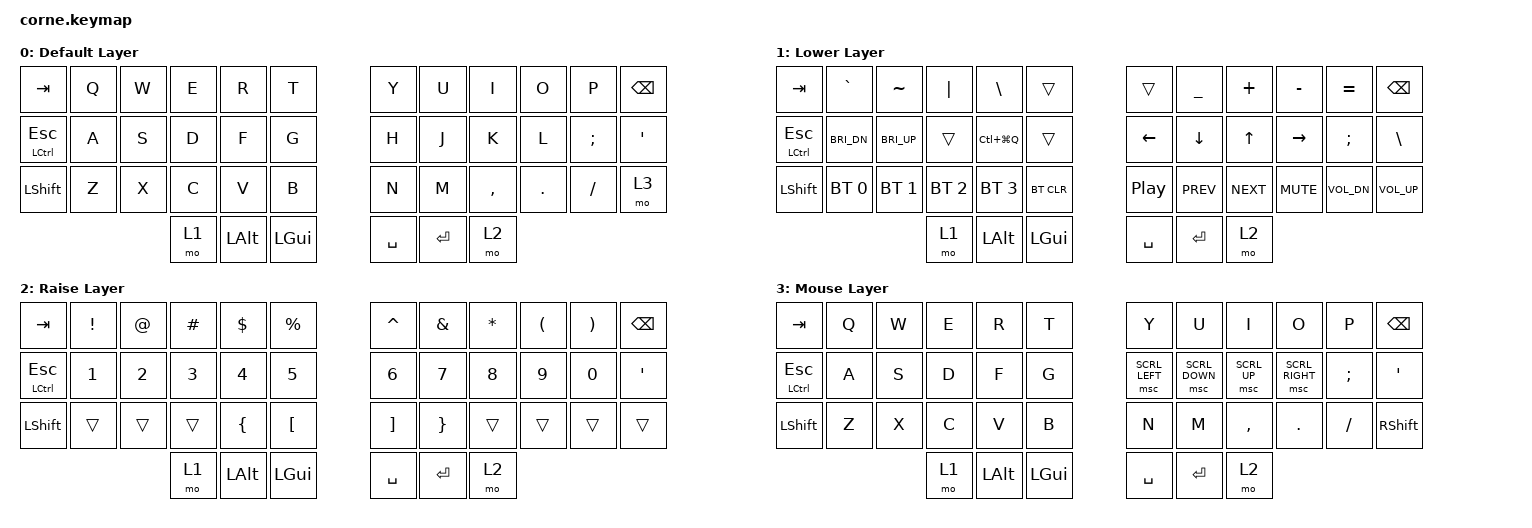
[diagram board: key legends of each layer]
/*
 * Copyright (c) 2020 The ZMK Contributors
 *
 * SPDX-License-Identifier: MIT
 */
#include <behaviors.dtsi>
#include <dt-bindings/zmk/keys.h>
#include <dt-bindings/zmk/bt.h>
#include <dt-bindings/zmk/pointing.h>
/ {
        keymap {
                compatible = "zmk,keymap";

                default_layer {
                        display-name = "Default Layer";
// -----------------------------------------------------------------------------------------
// |  TAB |  Q  |  W  |  E  |  R  |  T  |   |  Y  |  U   |  I  |  O  |  P  | BSPC |
// | CTRL |  A  |  S  |  D  |  F  |  G  |   |  H  |  J   |  K  |  L  |  ;  |  '   |
// | SHFT |  Z  |  X  |  C  |  V  |  B  |   |  N  |  M   |  ,  |  .  |  /  | SHFT  |
//                    | LOW | LOPT | CMD |   | SPACE | ENT  | RSE |
                        bindings = <
   &kp TAB       &kp Q &kp W &kp E &kp R &kp T       &kp Y &kp U  &kp I     &kp O   &kp P    &kp BACKSPACE
   &mt LCTRL ESC &kp A &kp S &kp D &kp F &kp G       &kp H &kp J  &kp K     &kp L   &kp SEMI &kp SQT
   &kp LSHFT     &kp Z &kp X &kp C &kp V &kp B       &kp N &kp M  &kp COMMA &kp DOT &kp FSLH &mo 3
                 &mo 1  &kp LALT &kp LGUI            &kp SPACE &kp RETURN &mo 2
                        >;
                };
                lower_layer {
                        display-name = "Lower Layer";
// -----------------------------------------------------------------------------------------
// |  TAB  |  `  |  ~  |    '|'    |    \    |     |      |     |  _  |  +  |  -  |  =  | BSPC |
// | LCTRL |     |     | SCRL UP | SCRL DN |     |      | LFT | DWN |  UP | RGT |  ;  |  '   |
// | SHFT  | BT0 | BT1 | BT2 | BT3 |BT CLR |    | PLAY | PREV | NEXT | DWN | UP | MUTE |
//                    | LOW | LOPT | CMD |      | SPACE | ENT  | RSE |
                        bindings = <
   &kp TAB       &kp GRAVE     &kp TILDE    &kp PIPE               &kp BACKSLASH        &trans            &trans                  &kp UNDERSCORE &kp PLUS       &kp MINUS    &kp EQUAL    &kp BACKSPACE
   &mt LCTRL ESC &kp C_BRI_DN        &kp C_BRI_UP       &trans     &kp LC(LG(Q))       &trans            &kp LEFT                &kp DOWN       &kp UP         &kp RIGHT    &kp SEMI     &kp BACKSLASH
   &kp LSHFT     &bt BT_SEL 0  &bt BT_SEL 1 &bt BT_SEL 2           &bt BT_SEL 3         &bt BT_CLR        &kp C_PLAY_PAUSE        &kp C_PREV     &kp C_NEXT    &kp C_MUTE &kp C_VOL_DN &kp C_VOL_UP 
                    &mo 1  &kp LALT &kp LGUI     &kp SPACE  &kp RETURN   &mo 2
                        >;
                };
                raise_layer {
                        display-name = "Raise Layer";
// -----------------------------------------------------------------------------------------
// |  TAB |  !  |  @  |  #  |  $  |  %  |   |  ^  |  &  |  *  |  (  |  )  | BSPC |
// | CTRL |  1  |  2  |  3  |  4  |  5  |   |  6  |  7  |  8  |  9  |  0  |  '   |
// | SHFT |     |     |     |  {  |  [  |   |  ]  |  }  |    |    | "|" |  ~   |
//                    | LOW | LOPT | CMD |   | SPACE | ENT  | RSE |
                        bindings = <
   &kp  TAB      &kp EXCL &kp AT &kp HASH &kp DLLR &kp PRCNT        &kp CARET &kp AMPS  &kp ASTRK &kp LPAR &kp RPAR  &kp BACKSPACE
   &mt LCTRL ESC &kp N1   &kp N2 &kp N3   &kp N4   &kp N5           &kp N6    &kp N7    &kp N8    &kp N9   &kp N0    &kp SINGLE_QUOTE
   &kp LSHFT     &trans   &trans &trans   &kp LBRC &kp LBKT         &kp RBKT  &kp RBRC  &trans    &trans   &trans    &trans
                           &mo 1  &kp LALT &kp LGUI                 &kp SPACE &kp RETURN &mo 2
                        >;
                };
                mouse_layer {
                        display-name = "Mouse Layer";
// -----------------------------------------------------------------------------------------
// |  TAB |  Q  |  W  |  E  |  R  |  T  |   |  Y  |  U   |  I  |  O  |  P  | BSPC |
// | CTRL |  A  |  S  |  D  |  F  |  G  |   |  H  |  J   |  K  |  L  |  ;  |  '   |
// | SHFT |  Z  |  X  |  C  |  V  |  B  |   |  N  |  M   |  ,  |  .  |  /  | SHFT  |
//                    | LOW | LOPT | CMD |   | SPACE | ENT  | RSE |
                        bindings = <
   &kp TAB       &kp Q &kp W &kp E &kp R &kp T       &kp Y &kp U  &kp I     &kp O   &kp P    &kp BACKSPACE
   &mt LCTRL ESC &kp A &kp S &kp D &kp F &kp G       &msc SCRL_LEFT &msc SCRL_DOWN  &msc SCRL_UP    &msc SCRL_RIGHT   &kp SEMI &kp SQT
   &kp LSHFT     &kp Z &kp X &kp C &kp V &kp B       &kp N &kp M  &kp COMMA &kp DOT &kp FSLH &kp RSHFT
                 &mo 1  &kp LALT &kp LGUI            &kp SPACE &kp RETURN &mo 2
                        >;
                };
        };
};
